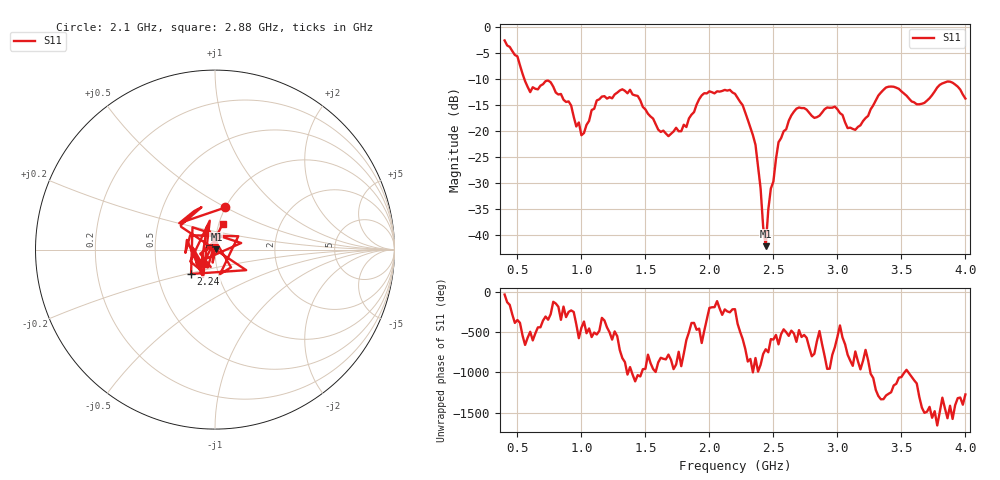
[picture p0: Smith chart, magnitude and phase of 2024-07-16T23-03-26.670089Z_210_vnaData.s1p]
!Created with skrf (http://scikit-rf.org).
# Hz S RI R 50.0
!freq ReS11 ImS11
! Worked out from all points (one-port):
!   181 points, 400 MHz to 4 GHz, reference 50 ohm
!   lowest |S11| = -42.2 dB at 2.44 GHz (marker M1), VSWR 1.02, Z = 50.8 + j0.119 ohm
!   |S11| at or under -10 dB: 553.9 MHz to end of sweep
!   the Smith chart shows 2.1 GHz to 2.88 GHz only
!   S11 on the Smith chart (normalised r, x): 2.1 GHz: 1.00, +0.50; 2.24 GHz: 0.74, -0.21; 2.88 GHz: 1.04, +0.31
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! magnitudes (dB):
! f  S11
! 400 MHz  -2.6
! 500 MHz  -5.7
! 600 MHz  -12.5
! 740 MHz  -10.3
! 860 MHz  -14.0
! 1 GHz  -20.8
! 1.12 GHz  -14.2
! 1.3 GHz  -12.2
! 1.44 GHz  -13.3
! 1.62 GHz  -20.2
! 1.76 GHz  -20.1
! 1.94 GHz  -13.2
! 2.1 GHz  -12.3
! 2.2 GHz  -12.9
! 2.24 GHz  -14.4
! 2.36 GHz  -22.7
! 2.44 GHz  -42.2
! 2.48 GHz  -31.1
! 2.54 GHz  -22.2
! 2.66 GHz  -16.3
! 2.88 GHz  -16.5
! 2.98 GHz  -15.3
! 3.1 GHz  -19.4
! 3.38 GHz  -11.7
! 3.56 GHz  -13.8
! 3.68 GHz  -14.6
! 3.86 GHz  -10.5
! 4 GHz  -13.8
